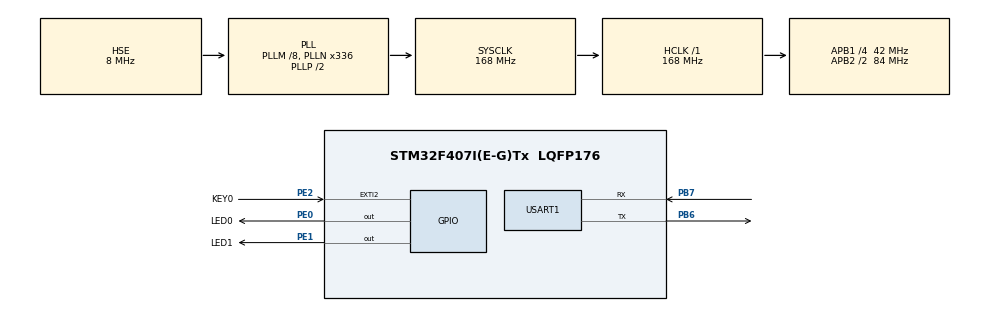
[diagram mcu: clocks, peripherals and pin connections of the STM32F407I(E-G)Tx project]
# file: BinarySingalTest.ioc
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FREERTOS.BinarySemaphores01=CpuPrintfBinarySem,Dynamic,NULL
FREERTOS.INCLUDE_vTaskDelayUntil=1
FREERTOS.MEMORY_ALLOCATION=2
FREERTOS.Queues01=CmdQueue,20,uint8_t,0,Dynamic,NULL,NULL
FREERTOS.Tasks01=UsartTask,-2,128,Usart_Task,Default,NULL,Static,UsartTaskBuffer,UsartTaskControlBlock;Led0Task,0,128,Led0_Task,Default,NULL,Dynamic,NULL,NULL;KeyTask,0,128,Key0_Task,Default,NULL,Dynamic,NULL,NULL;DelayTask,-2,128,Delay_Task,Default,NULL,Dynamic,NULL,NULL
FREERTOS.configCHECK_FOR_STACK_OVERFLOW=1
FREERTOS.configGENERATE_RUN_TIME_STATS=1
FREERTOS.configUSE_STATS_FORMATTING_FUNCTIONS=1
FREERTOS.configUSE_TRACE_FACILITY=1
Mcu.Family=STM32F4
Mcu.Name=STM32F407I(E-G)Tx
Mcu.Package=LQFP176
NVIC.EXTI2_IRQn=true\:5\:0\:false\:false\:true\:true\:true\:true\:true
NVIC.PriorityGroup=NVIC_PRIORITYGROUP_4
NVIC.TIM1_UP_TIM10_IRQn=true\:0\:0\:true\:false\:true\:false\:false\:true\:true
NVIC.TIM6_DAC_IRQn=true\:5\:0\:false\:false\:true\:true\:true\:true\:true
NVIC.TimeBase=TIM1_UP_TIM10_IRQn
NVIC.TimeBaseIP=TIM1
NVIC.USART1_IRQn=true\:5\:0\:false\:false\:true\:true\:true\:true\:true
PA13.Mode=Serial_Wire
PA13.Signal=SYS_JTMS-SWDIO
PA14.Mode=Serial_Wire
PA14.Signal=SYS_JTCK-SWCLK
PB6.Mode=Asynchronous
PB6.Signal=USART1_TX
PB7.Mode=Asynchronous
PB7.Signal=USART1_RX
PE0.GPIO_Label=LED0
PE0.GPIO_Speed=GPIO_SPEED_FREQ_HIGH
PE0.PinState=GPIO_PIN_SET
PE0.Signal=GPIO_Output
PE1.GPIO_Label=LED1
PE1.GPIO_Speed=GPIO_SPEED_FREQ_HIGH
PE1.PinState=GPIO_PIN_SET
PE1.Signal=GPIO_Output
PE2.GPIO_Label=KEY0
PE2.GPIO_ModeDefaultEXTI=GPIO_MODE_IT_RISING_FALLING
PE2.GPIO_PuPd=GPIO_PULLUP
PE2.Signal=GPXTI2
PH0-OSC_IN.Mode=HSE-External-Oscillator
PH0-OSC_IN.Signal=RCC_OSC_IN
PH1-OSC_OUT.Mode=HSE-External-Oscillator
PH1-OSC_OUT.Signal=RCC_OSC_OUT
ProjectManager.HeapSize=0x200
ProjectManager.StackSize=0x400
ProjectManager.TargetToolchain=MDK-ARM V5.32
RCC.48MHZClocksFreq_Value=84000000
RCC.AHBFreq_Value=168000000
RCC.APB1CLKDivider=RCC_HCLK_DIV4
RCC.APB1Freq_Value=42000000
RCC.APB1TimFreq_Value=84000000
RCC.APB2CLKDivider=RCC_HCLK_DIV2
RCC.APB2Freq_Value=84000000
RCC.APB2TimFreq_Value=168000000
RCC.CortexFreq_Value=168000000
RCC.HCLKFreq_Value=168000000
RCC.HSE_VALUE=8000000
RCC.HSI_VALUE=16000000
RCC.LSE_VALUE=32768
RCC.PLLM=8
RCC.PLLN=336
RCC.PLLSourceVirtual=RCC_PLLSOURCE_HSE
RCC.SYSCLKFreq_VALUE=168000000
RCC.SYSCLKSource=RCC_SYSCLKSOURCE_PLLCLK
RCC.VCOOutputFreq_Value=336000000
TIM6.Period=10-1
TIM6.Prescaler=8400-1
USART1.VirtualMode=VM_ASYNC
VP_FREERTOS_VS_CMSIS_V1.Mode=CMSIS_V1
VP_SYS_VS_tim1.Mode=TIM1
VP_TIM6_VS_ClockSourceINT.Mode=Enable_Timer
board=custom

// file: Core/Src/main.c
/* USER CODE BEGIN Header */
/**
  ******************************************************************************
  * @file           : main.c
  * @brief          : Main program body
  ******************************************************************************
  * @attention
  *
  * Copyright (c) 2024 STMicroelectronics.
  * All rights reserved.
  *
  * This software is licensed under terms that can be found in the LICENSE file
  * in the root directory of this software component.
  * If no LICENSE file comes with this software, it is provided AS-IS.
  *
  ******************************************************************************
  */
/* USER CODE END Header */
#include "main.h"
#include "cmsis_os.h"
#include "tim.h"
#include "usart.h"
#include "gpio.h"

/* USER CODE BEGIN Includes */
#include <stdio.h>
/* USER CODE END Includes */

/* USER CODE BEGIN PV */
extern uint32_t u32TimeCount;
/* USER CODE END PV */

void SystemClock_Config(void);
void MX_FREERTOS_Init(void);

int main(void)
{

  /* MCU Configuration--------------------------------------------------------*/

  /* Reset of all peripherals, Initializes the Flash interface and the Systick. */
  HAL_Init();

  /* Configure the system clock */
  SystemClock_Config();

  /* Initialize all configured peripherals */
  MX_GPIO_Init();
  MX_USART1_UART_Init();
  MX_TIM6_Init();
  /* USER CODE BEGIN 2 */
	//printf("Usart test!");
  /* USER CODE END 2 */

  /* Call init function for freertos objects (in cmsis_os2.c) */
  MX_FREERTOS_Init();

  /* Start scheduler */
  osKernelStart();

  /* We should never get here as control is now taken by the scheduler */

  /* Infinite loop */
  while (1)
  {

  }
}

void SystemClock_Config(void)
{
  RCC_OscInitTypeDef RCC_OscInitStruct = {0};
  RCC_ClkInitTypeDef RCC_ClkInitStruct = {0};

  /** Configure the main internal regulator output voltage
  */
  __HAL_RCC_PWR_CLK_ENABLE();
  __HAL_PWR_VOLTAGESCALING_CONFIG(PWR_REGULATOR_VOLTAGE_SCALE1);

  /** Initializes the RCC Oscillators according to the specified parameters
  * in the RCC_OscInitTypeDef structure.
  */
  RCC_OscInitStruct.OscillatorType = RCC_OSCILLATORTYPE_HSE;
  RCC_OscInitStruct.HSEState = RCC_HSE_ON;
  RCC_OscInitStruct.PLL.PLLState = RCC_PLL_ON;
  RCC_OscInitStruct.PLL.PLLSource = RCC_PLLSOURCE_HSE;
  RCC_OscInitStruct.PLL.PLLM = 8;
  RCC_OscInitStruct.PLL.PLLN = 336;
  RCC_OscInitStruct.PLL.PLLP = RCC_PLLP_DIV2;
  RCC_OscInitStruct.PLL.PLLQ = 4;
  if (HAL_RCC_OscConfig(&RCC_OscInitStruct) != HAL_OK)
  {
    Error_Handler();
  }

  /** Initializes the CPU, AHB and APB buses clocks
  */
  RCC_ClkInitStruct.ClockType = RCC_CLOCKTYPE_HCLK|RCC_CLOCKTYPE_SYSCLK
                              |RCC_CLOCKTYPE_PCLK1|RCC_CLOCKTYPE_PCLK2;
  RCC_ClkInitStruct.SYSCLKSource = RCC_SYSCLKSOURCE_PLLCLK;
  RCC_ClkInitStruct.AHBCLKDivider = RCC_SYSCLK_DIV1;
  RCC_ClkInitStruct.APB1CLKDivider = RCC_HCLK_DIV4;
  RCC_ClkInitStruct.APB2CLKDivider = RCC_HCLK_DIV2;

  if (HAL_RCC_ClockConfig(&RCC_ClkInitStruct, FLASH_LATENCY_5) != HAL_OK)
  {
    Error_Handler();
  }
}

/* USER CODE BEGIN 4 */
//printf
int fputc(int ch, FILE *f)
{
    while((USART1->SR & 0X40)==0);
    USART1->DR = (uint8_t) ch;
    return ch;
}
/* USER CODE END 4 */

void HAL_TIM_PeriodElapsedCallback(TIM_HandleTypeDef *htim)
{
  if (htim->Instance == TIM1) {
    HAL_IncTick();
		u32TimeCount++;
  }
  /* USER CODE BEGIN Callback 1 */
	if (htim->Instance == TIM6) {

  }

  /* USER CODE END Callback 1 */
}

void Error_Handler(void)
{
  __disable_irq();
  while (1)
  {
  }
}

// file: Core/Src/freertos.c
/* USER CODE BEGIN Header */
/**
  ******************************************************************************
  * File Name          : freertos.c
  * Description        : Code for freertos applications
  ******************************************************************************
  * @attention
  *
  * Copyright (c) 2024 STMicroelectronics.
  * All rights reserved.
  *
  * This software is licensed under terms that can be found in the LICENSE file
  * in the root directory of this software component.
  * If no LICENSE file comes with this software, it is provided AS-IS.
  *
  ******************************************************************************
  */
/* USER CODE END Header */

#include "FreeRTOS.h"
#include "task.h"
#include "main.h"
#include "cmsis_os.h"

/* USER CODE BEGIN Includes */
#include "gpio.h"
#include "string.h"
#include "tim.h"
#include "string.h"
/* USER CODE END Includes */

/* USER CODE BEGIN Variables */
extern teKeyStatus KeyStatus;
uint8_t u8TaskListBuffer[400];  //保存任务列表的缓冲区
extern uint32_t u32TimeCount;  //定时器统计值
uint8_t u8CmdBuffer[20];  //队列接收缓冲区
/* USER CODE END Variables */
osThreadId UsartTaskHandle;
uint32_t UsartTaskBuffer[ 128 ];
osStaticThreadDef_t UsartTaskControlBlock;
osThreadId Led0TaskHandle;
osThreadId KeyTaskHandle;
osThreadId DelayTaskHandle;
osMessageQId CmdQueueHandle;
osSemaphoreId CpuPrintfBinarySemHandle;

void Usart_Task(void const * argument);
void Led0_Task(void const * argument);
void Key0_Task(void const * argument);
void Delay_Task(void const * argument);

void MX_FREERTOS_Init(void); /* (MISRA C 2004 rule 8.1) */

/* GetIdleTaskMemory prototype (linked to static allocation support) */
void vApplicationGetIdleTaskMemory( StaticTask_t **ppxIdleTaskTCBBuffer, StackType_t **ppxIdleTaskStackBuffer, uint32_t *pulIdleTaskStackSize );

/* Hook prototypes */
void configureTimerForRunTimeStats(void);
unsigned long getRunTimeCounterValue(void);
void vApplicationStackOverflowHook(xTaskHandle xTask, signed char *pcTaskName);

/* USER CODE BEGIN 1 */
/* Functions needed when configGENERATE_RUN_TIME_STATS is on */
__weak void configureTimerForRunTimeStats(void)
{
	//1. 开启定时器6的中断——启动定时器
	//2. 定时器统计值，初始化为0
	HAL_TIM_Base_Stop_IT(&htim6);  //参数：TIM_HandleTypeDef* 类型的定时器句柄指针(在tim.c中)
	u32TimeCount = 0ul;
}

__weak unsigned long getRunTimeCounterValue(void)
{
	return u32TimeCount;
}
/* USER CODE END 1 */

/* USER CODE BEGIN 4 */
__weak void vApplicationStackOverflowHook(xTaskHandle xTask, signed char *pcTaskName)
{
	 printf("%s is Stack OverFlow!\r\n", pcTaskName);
   /* Run time stack overflow checking is performed if
   configCHECK_FOR_STACK_OVERFLOW is defined to 1 or 2. This hook function is
   called if a stack overflow is detected. */
}
//模拟栈溢出
void vStackOverFlowTest(void){
	uint8_t u8TestBuffer[128];
	int16_t i;
	(void)u8TestBuffer;
	for(i = 360; i >= 0; i--){
		u8TestBuffer[i] = 0x88;
	}
}
/* USER CODE END 4 */

/* USER CODE BEGIN GET_IDLE_TASK_MEMORY */
static StaticTask_t xIdleTaskTCBBuffer;
static StackType_t xIdleStack[configMINIMAL_STACK_SIZE];

void vApplicationGetIdleTaskMemory( StaticTask_t **ppxIdleTaskTCBBuffer, StackType_t **ppxIdleTaskStackBuffer, uint32_t *pulIdleTaskStackSize )
{
  *ppxIdleTaskTCBBuffer = &xIdleTaskTCBBuffer;
  *ppxIdleTaskStackBuffer = &xIdleStack[0];
  *pulIdleTaskStackSize = configMINIMAL_STACK_SIZE;
  /* place for user code */
}
/* USER CODE END GET_IDLE_TASK_MEMORY */

void MX_FREERTOS_Init(void) {

  /* Create the semaphores(s) */
  /* definition and creation of CpuPrintfBinarySem */
  osSemaphoreDef(CpuPrintfBinarySem);
  CpuPrintfBinarySemHandle = osSemaphoreCreate(osSemaphore(CpuPrintfBinarySem), 1);

  /* Create the queue(s) */
  /* definition and creation of CmdQueue */
  osMessageQDef(CmdQueue, 20, uint8_t);
  CmdQueueHandle = osMessageCreate(osMessageQ(CmdQueue), NULL);

  /* Create the thread(s) */
  /* definition and creation of UsartTask */
  osThreadStaticDef(UsartTask, Usart_Task, osPriorityLow, 0, 128, UsartTaskBuffer, &UsartTaskControlBlock);
  UsartTaskHandle = osThreadCreate(osThread(UsartTask), NULL);

  /* definition and creation of Led0Task */
  osThreadDef(Led0Task, Led0_Task, osPriorityNormal, 0, 128);
  Led0TaskHandle = osThreadCreate(osThread(Led0Task), NULL);

  /* definition and creation of KeyTask */
  osThreadDef(KeyTask, Key0_Task, osPriorityNormal, 0, 128);
  KeyTaskHandle = osThreadCreate(osThread(KeyTask), NULL);

  /* definition and creation of DelayTask */
  osThreadDef(DelayTask, Delay_Task, osPriorityLow, 0, 128);
  DelayTaskHandle = osThreadCreate(osThread(DelayTask), NULL);

}

void Usart_Task(void const * argument)
{
  /* USER CODE BEGIN Usart_Task */
  /* Infinite loop */
	uint8_t u8Index;
	uint8_t str_len;
	uint8_t pin_port;
  for(;;)
  {
		u8Index = 0;  //每次读取消息前，索引初始化0
		if(xQueueReceive(CmdQueueHandle, &u8CmdBuffer[u8Index++], portMAX_DELAY) == pdPASS){
			while(xQueueReceive(CmdQueueHandle, &u8CmdBuffer[u8Index++], 50)){}  //115200 8bit 数据包最大值是255Bytes 每秒可传输数据11520字 50ms则可以576字
			u8CmdBuffer[u8Index] = '\0';  //字符串结束标记
			printf("%s\n", u8CmdBuffer);
			//printf("strncmp((char*)u8CmdBuffer, openled, 7) -> %d\n", strncmp((char*)u8CmdBuffer, "openled", 7));
			//数据解析
			str_len = strlen((char*)u8CmdBuffer);  //获取命令长度
			//printf("str_len %d\n", str_len);
			if(strncmp((char*)u8CmdBuffer, "openled", 7) == 0){
				pin_port = u8CmdBuffer[str_len-1] - 48;  //ascii ‘0’- 0 = 48
				printf("pin_port %d\n", pin_port);
				if(pin_port == 0)	HAL_GPIO_WritePin(LED0_GPIO_Port, LED0_Pin, GPIO_PIN_RESET);  // 点亮LED_{pin_port}
				else if(pin_port == 1)	HAL_GPIO_WritePin(LED1_GPIO_Port, LED1_Pin, GPIO_PIN_RESET);  // 点亮LED_{pin_port}
				else printf("cmd is illegal!\n");
			}
			if(strncmp((char*)u8CmdBuffer, "closeled", 8) == 0){
				pin_port = u8CmdBuffer[str_len-1] - 48;  //ascii ‘0’- 0 = 48
				printf("pin_port %d\n", pin_port);
				if(pin_port == 0)	HAL_GPIO_WritePin(LED0_GPIO_Port, LED0_Pin, GPIO_PIN_SET);  // 关闭LED_{pin_port}
				else if(pin_port == 1)	HAL_GPIO_WritePin(LED1_GPIO_Port, LED1_Pin, GPIO_PIN_SET);  // 关闭LED_{pin_port}
				else printf("cmd is illegal!\n");
			}
		}
    osDelay(5000);
  }
  /* USER CODE END Usart_Task */
}

void Led0_Task(void const * argument)
{
  /* USER CODE BEGIN Led0_Task */
  /* Infinite loop */
  for(;;)
  {
		osDelay(50000);
  }
  /* USER CODE END Led0_Task */
}

void Key0_Task(void const * argument)
{
  /* USER CODE BEGIN Key0_Task */
  /* Infinite loop */
	KeyStatus = KEY_RESET;
  /* Infinite loop */
  for(;;)
  {
		if(xSemaphoreTake(CpuPrintfBinarySemHandle, portMAX_DELAY) == pdPASS){  //获取二值信号量
		//if(xSemaphoreGive(CpuPrintfBinarySemHandle) == pdPASS){  //释放二值信号量
			memset(u8TaskListBuffer, 0, 400);
			taskENTER_CRITICAL();
			vTaskGetRunTimeStats((char*)u8TaskListBuffer);
			printf("Task            Abs Time      Time \r\n");
			printf("****************************************\r\n");
			printf("%s", u8TaskListBuffer);
			taskEXIT_CRITICAL();
			KeyStatus = KEY_RESET;
		}
  }
  /* USER CODE END Key0_Task */
}

void Delay_Task(void const * argument)
{
  /* USER CODE BEGIN Delay_Task */
  /* Infinite loop */
	TickType_t WakeTime = xTaskGetTickCount();  //系统上一次节拍值
  for(;;)
  {
		taskENTER_CRITICAL();
		printf("Delay task is running!\r\n");
		taskEXIT_CRITICAL();
    vTaskDelayUntil(&WakeTime, 5000);
  }
  /* USER CODE END Delay_Task */
}
